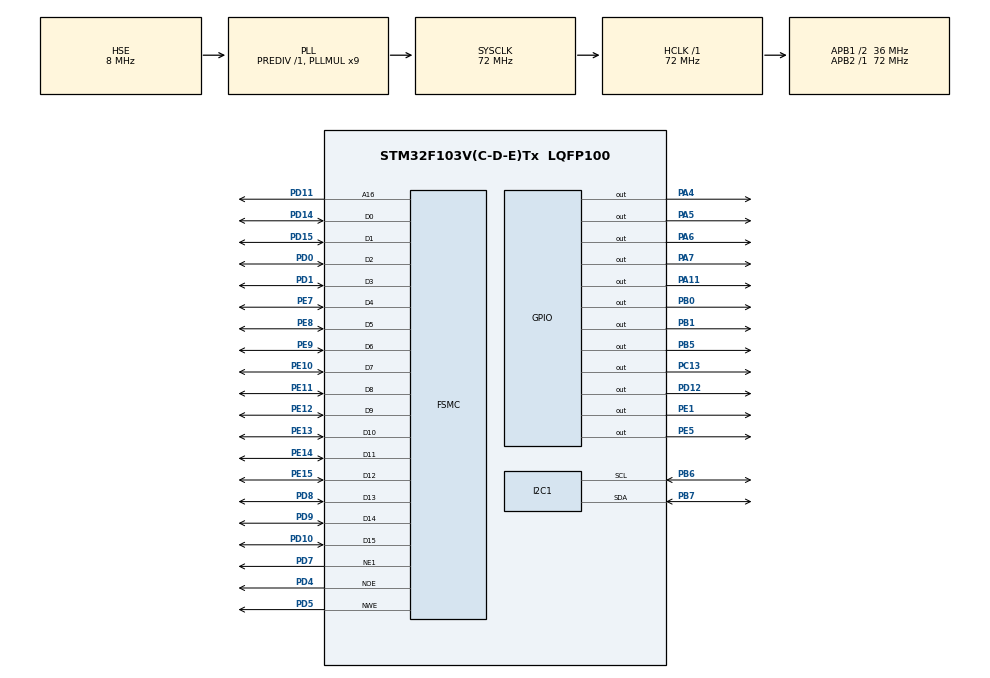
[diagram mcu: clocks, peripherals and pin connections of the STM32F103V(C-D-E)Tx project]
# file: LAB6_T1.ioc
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I2C1.DualAddressMode=I2C_DUALADDRESS_DISABLE
I2C1.NoStretchMode=I2C_NOSTRETCH_DISABLE
Mcu.Family=STM32F1
Mcu.Name=STM32F103V(C-D-E)Tx
Mcu.Package=LQFP100
NVIC.PriorityGroup=NVIC_PRIORITYGROUP_4
OSC_IN.Mode=HSE-External-Oscillator
OSC_IN.Signal=RCC_OSC_IN
OSC_OUT.Mode=HSE-External-Oscillator
OSC_OUT.Signal=RCC_OSC_OUT
PA11.GPIO_Speed=GPIO_SPEED_FREQ_HIGH
PA11.Signal=GPIO_Output
PA13.Mode=Serial_Wire
PA13.Signal=SYS_JTMS-SWDIO
PA14.Mode=Serial_Wire
PA14.Signal=SYS_JTCK-SWCLK
PA4.GPIO_Speed=GPIO_SPEED_FREQ_HIGH
PA4.Signal=GPIO_Output
PA5.GPIO_Speed=GPIO_SPEED_FREQ_HIGH
PA5.Signal=GPIO_Output
PA6.GPIO_Speed=GPIO_SPEED_FREQ_HIGH
PA6.Signal=GPIO_Output
PA7.GPIO_Speed=GPIO_SPEED_FREQ_HIGH
PA7.Signal=GPIO_Output
PB0.PinState=GPIO_PIN_SET
PB0.Signal=GPIO_Output
PB1.PinState=GPIO_PIN_SET
PB1.Signal=GPIO_Output
PB5.PinState=GPIO_PIN_SET
PB5.Signal=GPIO_Output
PB6.Mode=I2C
PB6.Signal=I2C1_SCL
PB7.Mode=I2C
PB7.Signal=I2C1_SDA
PC13-TAMPER-RTC.GPIO_Speed=GPIO_SPEED_FREQ_HIGH
PC13-TAMPER-RTC.Signal=GPIO_Output
PC14-OSC32_IN.Mode=LSE-External-Oscillator
PC14-OSC32_IN.Signal=RCC_OSC32_IN
PC15-OSC32_OUT.Mode=LSE-External-Oscillator
PC15-OSC32_OUT.Signal=RCC_OSC32_OUT
PD0.Mode=16b-d1
PD0.Signal=FSMC_D2
PD1.Mode=16b-d1
PD1.Signal=FSMC_D3
PD10.Mode=16b-d1
PD10.Signal=FSMC_D15
PD11.Mode=A16_1
PD11.Signal=FSMC_A16
PD12.GPIO_Speed=GPIO_SPEED_FREQ_HIGH
PD12.PinState=GPIO_PIN_SET
PD12.Signal=GPIO_Output
PD14.Mode=16b-d1
PD14.Signal=FSMC_D0
PD15.Mode=16b-d1
PD15.Signal=FSMC_D1
PD4.Mode=Lcd1
PD4.Signal=FSMC_NOE
PD5.Mode=Lcd1
PD5.Signal=FSMC_NWE
PD7.Mode=NorPsramChipSelect1_1
PD7.Signal=FSMC_NE1
PD8.Mode=16b-d1
PD8.Signal=FSMC_D13
PD9.Mode=16b-d1
PD9.Signal=FSMC_D14
PE1.GPIO_Speed=GPIO_SPEED_FREQ_HIGH
PE1.PinState=GPIO_PIN_SET
PE1.Signal=GPIO_Output
PE10.Mode=16b-d1
PE10.Signal=FSMC_D7
PE11.Mode=16b-d1
PE11.Signal=FSMC_D8
PE12.Mode=16b-d1
PE12.Signal=FSMC_D9
PE13.Mode=16b-d1
PE13.Signal=FSMC_D10
PE14.Mode=16b-d1
PE14.Signal=FSMC_D11
PE15.Mode=16b-d1
PE15.Signal=FSMC_D12
PE5.GPIO_Speed=GPIO_SPEED_FREQ_HIGH
PE5.Signal=GPIO_Output
PE7.Mode=16b-d1
PE7.Signal=FSMC_D4
PE8.Mode=16b-d1
PE8.Signal=FSMC_D5
PE9.Mode=16b-d1
PE9.Signal=FSMC_D6
ProjectManager.HeapSize=0x200
ProjectManager.StackSize=0x400
ProjectManager.TargetToolchain=MDK-ARM V5
RCC.ADCPresc=RCC_ADCPCLK2_DIV6
RCC.AHBFreq_Value=72000000
RCC.APB1CLKDivider=RCC_HCLK_DIV2
RCC.APB1Freq_Value=36000000
RCC.APB1TimFreq_Value=72000000
RCC.APB2Freq_Value=72000000
RCC.APB2TimFreq_Value=72000000
RCC.HCLKFreq_Value=72000000
RCC.PLLMUL=RCC_PLL_MUL9
RCC.PLLSourceVirtual=RCC_PLLSOURCE_HSE
RCC.SYSCLKFreq_VALUE=72000000
RCC.SYSCLKSource=RCC_SYSCLKSOURCE_PLLCLK
RCC.USBFreq_Value=72000000
board=custom

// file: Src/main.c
/* USER CODE BEGIN Header */
/**
  ******************************************************************************
  * @file           : main.c
  * @brief          : Main program body
  ******************************************************************************
  * @attention
  *
  * <h2><center>&copy; Copyright (c) 2022 STMicroelectronics.
  * All rights reserved.</center></h2>
  *
  * This software component is licensed by ST under BSD 3-Clause license,
  * the "License"; You may not use this file except in compliance with the
  * License. You may obtain a copy of the License at:
  *                        opensource.org/licenses/BSD-3-Clause
  *
  ******************************************************************************
  */
/* USER CODE END Header */

#include "main.h"

/* USER CODE BEGIN Includes */
#include "lcd.h"
//#include "i2c_debug.h"
//#include "hmc5883.h"
/* USER CODE END Includes */

I2C_HandleTypeDef hi2c1;

SRAM_HandleTypeDef hsram1;

void SystemClock_Config(void);
static void MX_GPIO_Init(void);
static void MX_FSMC_Init(void);
static void MX_I2C1_Init(void);

int main(void)
{

  /* MCU Configuration--------------------------------------------------------*/

  /* Reset of all peripherals, Initializes the Flash interface and the Systick. */
  HAL_Init();

  /* Configure the system clock */
  SystemClock_Config();

  /* Initialize all configured peripherals */
  MX_GPIO_Init();
  MX_FSMC_Init();
  MX_I2C1_Init();
  /* USER CODE BEGIN 2 */
	LCD_INIT();
	lab6_lcd_init();
	__HAL_RCC_FSMC_CLK_DISABLE();
//	if (HAL_I2C_IsDeviceReady(&hi2c1,0xA0,10,300) == HAL_OK)
//	{
//		HAL_GPIO_WritePin(GPIOB, GPIO_PIN_0, GPIO_PIN_RESET);
//		//LCD_DrawString(60, 150, "eeprom ready.\0");
//	}
//	else
//	{
//		//HAL_GPIO_WritePin(GPIOB, GPIO_PIN_1, GPIO_PIN_RESET);
//		//LCD_DrawString(60, 150, "eeprom not ready.\0");
//	}
//	if (HAL_I2C_IsDeviceReady(&hi2c1,0x3C,10,300) == HAL_OK)
//	{
//		HAL_GPIO_WritePin(GPIOB, GPIO_PIN_0, GPIO_PIN_RESET);
//		//LCD_DrawString(60, 200, "compass ready.\0");
//	}
//	else
//	{
//		//HAL_GPIO_WritePin(GPIOB, GPIO_PIN_1, GPIO_PIN_RESET);
//		//LCD_DrawString(60, 200, "compass not ready.\0");
//	}

	uint8_t HMC5883L_Addr = 0x1E;
	uint8_t	CRA = 0x70;
	uint8_t	CRB = 0xA0;
	uint8_t	read_mode = 0x01;
	HAL_I2C_Mem_Write(&hi2c1,HMC5883L_Addr<<1,0x00,1,&CRA,1,100);
	HAL_Delay(20);
	HAL_I2C_Mem_Write(&hi2c1,HMC5883L_Addr<<1,0x01,1,&CRB,1,100);

	uint8_t recv_x_MSB = 0x01;
	uint8_t recv_x_LSB = 0x01;
	uint8_t recv_y_MSB = 0x01;
	uint8_t recv_y_LSB = 0x01;
  /* USER CODE END 2 */

  /* Infinite loop */
  while (1)
  {

    /* USER CODE BEGIN 3 */
		__HAL_RCC_FSMC_CLK_DISABLE();
		HAL_I2C_Mem_Write(&hi2c1,HMC5883L_Addr<<1,0x02,1,&read_mode,1,100);

		HAL_Delay(10);
		HAL_I2C_Mem_Read(&hi2c1,HMC5883L_Addr<<1,0x03,1,&recv_x_MSB,1,100);

		HAL_I2C_Mem_Read(&hi2c1,HMC5883L_Addr<<1,0x04,1,&recv_x_LSB,1,100);
		HAL_I2C_Mem_Read(&hi2c1,HMC5883L_Addr<<1,0x07,1,&recv_y_MSB,1,100);
		HAL_I2C_Mem_Read(&hi2c1,HMC5883L_Addr<<1,0x08,1,&recv_y_LSB,1,100);
		__HAL_RCC_FSMC_CLK_ENABLE();
		lab6_update_lcd_seven_segment((recv_x_MSB<<8)+recv_x_LSB, (recv_y_MSB<<8)+recv_y_LSB);
  }
  /* USER CODE END 3 */
}

void SystemClock_Config(void)
{
  RCC_OscInitTypeDef RCC_OscInitStruct = {0};
  RCC_ClkInitTypeDef RCC_ClkInitStruct = {0};

  /** Initializes the CPU, AHB and APB busses clocks
  */
  RCC_OscInitStruct.OscillatorType = RCC_OSCILLATORTYPE_HSE;
  RCC_OscInitStruct.HSEState = RCC_HSE_ON;
  RCC_OscInitStruct.HSEPredivValue = RCC_HSE_PREDIV_DIV1;
  RCC_OscInitStruct.HSIState = RCC_HSI_ON;
  RCC_OscInitStruct.PLL.PLLState = RCC_PLL_ON;
  RCC_OscInitStruct.PLL.PLLSource = RCC_PLLSOURCE_HSE;
  RCC_OscInitStruct.PLL.PLLMUL = RCC_PLL_MUL9;
  if (HAL_RCC_OscConfig(&RCC_OscInitStruct) != HAL_OK)
  {
    Error_Handler();
  }
  /** Initializes the CPU, AHB and APB busses clocks
  */
  RCC_ClkInitStruct.ClockType = RCC_CLOCKTYPE_HCLK|RCC_CLOCKTYPE_SYSCLK
                              |RCC_CLOCKTYPE_PCLK1|RCC_CLOCKTYPE_PCLK2;
  RCC_ClkInitStruct.SYSCLKSource = RCC_SYSCLKSOURCE_PLLCLK;
  RCC_ClkInitStruct.AHBCLKDivider = RCC_SYSCLK_DIV1;
  RCC_ClkInitStruct.APB1CLKDivider = RCC_HCLK_DIV2;
  RCC_ClkInitStruct.APB2CLKDivider = RCC_HCLK_DIV1;

  if (HAL_RCC_ClockConfig(&RCC_ClkInitStruct, FLASH_LATENCY_2) != HAL_OK)
  {
    Error_Handler();
  }
}

static void MX_I2C1_Init(void)
{

  hi2c1.Instance             = I2C1;
  hi2c1.Init.AddressingMode  = I2C_ADDRESSINGMODE_7BIT;
  hi2c1.Init.ClockSpeed      = 400000;
  hi2c1.Init.DualAddressMode = I2C_DUALADDRESS_DISABLE;
  hi2c1.Init.DutyCycle       = I2C_DUTYCYCLE_2;
  hi2c1.Init.GeneralCallMode = I2C_GENERALCALL_DISABLE;
  hi2c1.Init.NoStretchMode   = I2C_NOSTRETCH_DISABLE;
  hi2c1.Init.OwnAddress1     = 0x0A ;
  hi2c1.Init.OwnAddress2     = 0;
  if (HAL_I2C_Init(&hi2c1) != HAL_OK)
  {
    Error_Handler();
  }

}

static void MX_GPIO_Init(void)
{
  GPIO_InitTypeDef GPIO_InitStruct = {0};

  /* GPIO Ports Clock Enable */
  __HAL_RCC_GPIOE_CLK_ENABLE();
  __HAL_RCC_GPIOC_CLK_ENABLE();
  __HAL_RCC_GPIOA_CLK_ENABLE();
  __HAL_RCC_GPIOB_CLK_ENABLE();
  __HAL_RCC_GPIOD_CLK_ENABLE();

  /*Configure GPIO pin Output Level */
  HAL_GPIO_WritePin(GPIOE, GPIO_PIN_5, GPIO_PIN_RESET);

  /*Configure GPIO pin Output Level */
  HAL_GPIO_WritePin(GPIOC, GPIO_PIN_13, GPIO_PIN_RESET);

  /*Configure GPIO pin Output Level */
  HAL_GPIO_WritePin(GPIOA, GPIO_PIN_4|GPIO_PIN_5|GPIO_PIN_6|GPIO_PIN_7
                          |GPIO_PIN_11, GPIO_PIN_RESET);

  /*Configure GPIO pin Output Level */
  HAL_GPIO_WritePin(GPIOB, GPIO_PIN_0|GPIO_PIN_1|GPIO_PIN_5, GPIO_PIN_SET);

  /*Configure GPIO pin Output Level */
  HAL_GPIO_WritePin(GPIOD, GPIO_PIN_12, GPIO_PIN_SET);

  /*Configure GPIO pin Output Level */
  HAL_GPIO_WritePin(GPIOE, GPIO_PIN_1, GPIO_PIN_SET);

  /*Configure GPIO pins : PE5 PE1 */
  GPIO_InitStruct.Pin = GPIO_PIN_5|GPIO_PIN_1;
  GPIO_InitStruct.Mode = GPIO_MODE_OUTPUT_PP;
  GPIO_InitStruct.Pull = GPIO_NOPULL;
  GPIO_InitStruct.Speed = GPIO_SPEED_FREQ_HIGH;
  HAL_GPIO_Init(GPIOE, &GPIO_InitStruct);

  /*Configure GPIO pin : PC13 */
  GPIO_InitStruct.Pin = GPIO_PIN_13;
  GPIO_InitStruct.Mode = GPIO_MODE_OUTPUT_PP;
  GPIO_InitStruct.Pull = GPIO_NOPULL;
  GPIO_InitStruct.Speed = GPIO_SPEED_FREQ_HIGH;
  HAL_GPIO_Init(GPIOC, &GPIO_InitStruct);

  /*Configure GPIO pins : PA4 PA5 PA6 PA7
                           PA11 */
  GPIO_InitStruct.Pin = GPIO_PIN_4|GPIO_PIN_5|GPIO_PIN_6|GPIO_PIN_7
                          |GPIO_PIN_11;
  GPIO_InitStruct.Mode = GPIO_MODE_OUTPUT_PP;
  GPIO_InitStruct.Pull = GPIO_NOPULL;
  GPIO_InitStruct.Speed = GPIO_SPEED_FREQ_HIGH;
  HAL_GPIO_Init(GPIOA, &GPIO_InitStruct);

  /*Configure GPIO pins : PB0 PB1 PB5 */
  GPIO_InitStruct.Pin = GPIO_PIN_0|GPIO_PIN_1|GPIO_PIN_5;
  GPIO_InitStruct.Mode = GPIO_MODE_OUTPUT_PP;
  GPIO_InitStruct.Pull = GPIO_NOPULL;
  GPIO_InitStruct.Speed = GPIO_SPEED_FREQ_LOW;
  HAL_GPIO_Init(GPIOB, &GPIO_InitStruct);

  /*Configure GPIO pin : PD12 */
  GPIO_InitStruct.Pin = GPIO_PIN_12;
  GPIO_InitStruct.Mode = GPIO_MODE_OUTPUT_PP;
  GPIO_InitStruct.Pull = GPIO_NOPULL;
  GPIO_InitStruct.Speed = GPIO_SPEED_FREQ_HIGH;
  HAL_GPIO_Init(GPIOD, &GPIO_InitStruct);

}

/* FSMC initialization function */
static void MX_FSMC_Init(void)
{

  FSMC_NORSRAM_TimingTypeDef Timing = {0};

  /** Perform the SRAM1 memory initialization sequence
  */
  hsram1.Instance = FSMC_NORSRAM_DEVICE;
  hsram1.Extended = FSMC_NORSRAM_EXTENDED_DEVICE;
  /* hsram1.Init */
  hsram1.Init.NSBank = FSMC_NORSRAM_BANK1;
  hsram1.Init.DataAddressMux = FSMC_DATA_ADDRESS_MUX_DISABLE;
  hsram1.Init.MemoryType = FSMC_MEMORY_TYPE_SRAM;
  hsram1.Init.MemoryDataWidth = FSMC_NORSRAM_MEM_BUS_WIDTH_16;
  hsram1.Init.BurstAccessMode = FSMC_BURST_ACCESS_MODE_DISABLE;
  hsram1.Init.WaitSignalPolarity = FSMC_WAIT_SIGNAL_POLARITY_LOW;
  hsram1.Init.WrapMode = FSMC_WRAP_MODE_DISABLE;
  hsram1.Init.WaitSignalActive = FSMC_WAIT_TIMING_BEFORE_WS;
  hsram1.Init.WriteOperation = FSMC_WRITE_OPERATION_ENABLE;
  hsram1.Init.WaitSignal = FSMC_WAIT_SIGNAL_DISABLE;
  hsram1.Init.ExtendedMode = FSMC_EXTENDED_MODE_DISABLE;
  hsram1.Init.AsynchronousWait = FSMC_ASYNCHRONOUS_WAIT_DISABLE;
  hsram1.Init.WriteBurst = FSMC_WRITE_BURST_DISABLE;
  /* Timing */
  Timing.AddressSetupTime = 15;
  Timing.AddressHoldTime = 15;
  Timing.DataSetupTime = 255;
  Timing.BusTurnAroundDuration = 15;
  Timing.CLKDivision = 16;
  Timing.DataLatency = 17;
  Timing.AccessMode = FSMC_ACCESS_MODE_A;
  /* ExtTiming */

  if (HAL_SRAM_Init(&hsram1, &Timing, NULL) != HAL_OK)
  {
    Error_Handler( );
  }

  /** Disconnect NADV
  */

  __HAL_AFIO_FSMCNADV_DISCONNECTED();

}

void Error_Handler(void)
{
}

/************************ (C) COPYRIGHT STMicroelectronics *****END OF FILE****/
